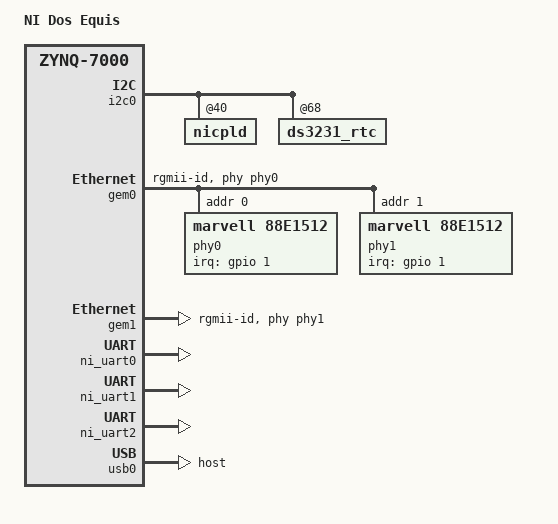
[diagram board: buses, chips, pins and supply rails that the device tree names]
/dts-v1/;
/include/ "ni-zynq.dtsi"

/* NIDEVCODE 76D6 */

/ {
	model = "NI Dos Equis";
	compatible = "ni,zynq", "xlnx,zynq-7000";

	amba@0 {
		i2c0: i2c@e0004000 {
			nicpld@40 {
				watchdogs {
					boot-watchdog {
						interrupt-parent = <&gpio>;
						interrupts = <46 2 /* IRQ_TYPE_EDGE_FALLING */>;
					};
				};

				leds {
					user1-0 {
						label = "nilrt:user1:green";
					};
					user1-1 {
						label = "nilrt:user1:yellow";
					};
					status-0 {
						label = "nilrt:status:red";
					};
					status-1 {
						label = "nilrt:status:yellow";
						max-brightness = <0xFFFF>;
					};
					eth0-0 {
						label = "nilrt:eth0:green";
						linux,default-trigger =
						  "e000b000.etherne:00:100Mb";
					};
					eth0-1 {
						label = "nilrt:eth0:yellow";
						linux,default-trigger =
						  "e000b000.etherne:00:Gb";
					};
					eth1-0 {
						label = "nilrt:eth1:green";
						linux,default-trigger =
						  "e000b000.etherne:01:100Mb";
					};
					eth1-1 {
						label = "nilrt:eth1:yellow";
						linux,default-trigger =
						  "e000b000.etherne:01:Gb";
					};
				};
			};

			ds3231_rtc@68 {
				status = "okay";
			};
		};
	};
};

&gem0 {
	status = "okay";
	phy-handle = <&phy0>;
	phy-mode = "rgmii-id";
	#address-cells = <0x1>;
	#size-cells = <0x0>;

	phy0: phy@0 {
		compatible = "marvell,88e1512";
		device_type = "ethernet-phy";
		reg = <0x0>;
		/* Interrupt on GPIO1, shared with phy1. */
		interrupts = <1 8 /* IRQ_TYPE_LEVEL_LOW */>;
		interrupt-parent = <&gpio>;
		/* Page 3, Register 16, LED[2:0] Function
		   Control Register */
		leds = <0x1881>;
	};

	phy1: phy@1 {
		compatible = "marvell,88e1512";
		device_type = "ethernet-phy";
		reg = <0x1>;
		/* Interrupt on GPIO1, shared with phy0. */
		interrupts = <1 8 /* IRQ_TYPE_LEVEL_LOW */>;
		interrupt-parent = <&gpio>;
		/* Page 3, Register 16, LED[2:0] Function
		   Control Register */
		leds = <0x1881>;
	};
};

&gem1 {
	status = "okay";
	clocks = <&clkc 31>, <&clkc 14>, <&clkc 15>;
	clock-names = "pclk", "hclk", "tx_clk";
	phy-handle = <&phy1>;
	phy-mode = "rgmii-id";
	cdns,no_mdio_bus;
	emio-speed-gpios = <0>,
			   <&gpio 54 0>;
};

&ni_uart0 {
	status = "okay";
	transceiver = "RS-232";
};

&ni_uart1 {
	status = "okay";
	transceiver = "RS-232";
};

&ni_uart2 {
	status = "okay";
	transceiver = "RS-485";
};

&usb0 {
	status = "okay";
	dr_mode = "host";
};

&clkc {
	/* Enable fclk1 for serial. */
	fclk-enable = <0x2>;
};
